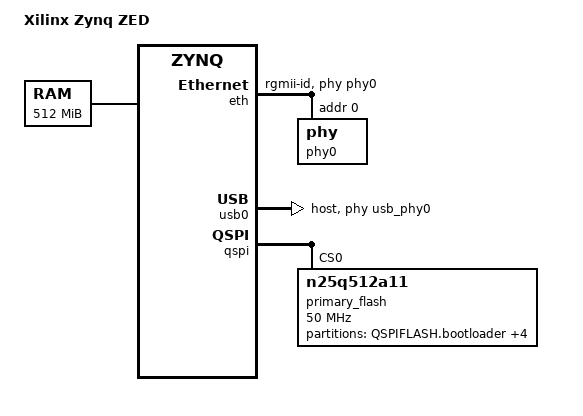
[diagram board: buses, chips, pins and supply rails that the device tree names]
/include/ "zynq.dtsi"

/ {
	model = "Xilinx Zynq ZED";
	//dtc_st = "2018-07-13 16:40:25";
	//git_hash= "we323afdf33";
/include/ "dt_ver.dtsi"
	memory {
		device_type = "memory";
		reg = <0x000000000 0x20000000>;
	};

	chosen {
//		bootargs = "console=ttyPS0,115200 root=/dev/ram rw initrd=0x1100000,33M ip=:::::eth0:dhcp earlyprintk";
		bootargs = "console=ttyPS0,115200 root=/dev/mmcblk0p2 rw earlyprintk rootfstype=ext4 rootwait";
		linux,stdout-path = "/amba@0/uart@E0001000";
	};

	usb_phy0: phy0 {
		compatible = "ulpi-phy";
		#phy-cells = <0>;
		reg = <0xe0002000 0x1000>;
		view-port = <0x0170>;
		drv-vbus;
	};

	amba_pl {
		#address-cells = <0x1>;
		#size-cells = <0x1>;
		compatible = "simple-bus";
		ranges;

		zptty@40001000 {
			compatible = "ikwzm,zptty-0.10.a";
			minor-number = <0>;
			reg = <0x40001000 0x80>;
			interrupt-parent = <&intc>;
			interrupts = <0x0 29 0x4>;
		};

		//vvtpackdev_0@40000C20 {
		//	compatible = "xlnx,opb-vvtpackdev-1.00.b";
		//	reg = <0x40000C20 0x10000>;
		//	interrupt-parent = <&intc>;
		//	interrupts = <0 29 4>;
		//	clock = <100000000>;
		//};

		dfe_rom@8c008000 {
			compatible = "xlnx,dfe-rom-1.0";
			reg = <0x8c008000 0x4000>;
		};

		dfe_scratch@8c000000 {
			compatible = "xlnx,dfe-scratch-1.0";
			reg = <0x8c000000 0x1000>;
		};

		dfe_clk_ctrl@8c001000 {
			compatible = "xlnx,dfe-clk-ctrl-1.0";
			reg = <0x8c001000 0x1000>;
		};

		dfe_ext_sync@8e002000 {
			compatible = "xlnx,dfe-ext-sync-1.0";
			reg = <0x8e002000 0x1000>;
			xlnx,antennas = <0x1>;
			xlnx,phases = <0x1>;
			xlnx,rate = <0x8>;
		};

		dfe_glitch_protect@8e005000 {
			compatible = "xlnx,dfe-glitch-protect-1.0";
			reg = <0x8e005000 0x1000>;
			xlnx,antennas = <0x1>;
			xlnx,output-reg = <0x2>;
			xlnx,phases = <0x1>;
		};

		jesd204@8e004000 {
			compatible = "xlnx,jesd204-7.1";
			reg = <0x8e004000 0x1000>;
			xlnx,axiclk-freq = "100.0";
			xlnx,component-name = "zynq_1_jesd204_rx_0_0";
			xlnx,default-f = <0x1>;
			xlnx,default-k = <0x20>;
			xlnx,default-scr = <0x0>;
			xlnx,default-sysref-always = <0x0>;
			xlnx,default-sysref-required = <0x0>;
			xlnx,drpclk-freq = "100.0";
			xlnx,global-clk-sel = "true";
			xlnx,gt-line-rate = "9.8304";
			xlnx,gt-refclk-freq = "245.760";
			xlnx,lanes = <0x1>;
			xlnx,lmfc-buffer-size = <0x6>;
			xlnx,node-is-transmit = <0x0>;
			xlnx,pll-selection = <0x3>;
			xlnx,speedgrade = "-2";
			xlnx,supportlevel = <0x0>;
			xlnx,sysref-sampling-edge = <0x0>;
			xlnx,transceiver = "GTXE2";
			xlnx,transceivercontrol = "false";
			xlnx,use-jspat = "false";
			xlnx,use-rpat = "false";
		};

		jesd204@8e003000 {
			compatible = "xlnx,jesd204-7.1";
			reg = <0x8e003000 0x1000>;
			xlnx,axiclk-freq = "100.0";
			xlnx,component-name = "zynq_1_jesd204_tx_0_0";
			xlnx,default-f = <0x1>;
			xlnx,default-k = <0x20>;
			xlnx,default-scr = <0x0>;
			xlnx,default-sysref-always = <0x0>;
			xlnx,default-sysref-required = <0x0>;
			xlnx,drpclk-freq = "100.0";
			xlnx,global-clk-sel = "true";
			xlnx,gt-line-rate = "9.8304";
			xlnx,gt-refclk-freq = "245.760";
			xlnx,lanes = <0x1>;
			xlnx,lmfc-buffer-size = <0x6>;
			xlnx,node-is-transmit = <0x1>;
			xlnx,pll-selection = <0x3>;
			xlnx,speedgrade = "-2";
			xlnx,supportlevel = <0x0>;
			xlnx,sysref-sampling-edge = <0x0>;
			xlnx,transceiver = "GTXE2";
			xlnx,transceivercontrol = "false";
			xlnx,use-jspat = "true";
			xlnx,use-rpat = "true";
		};

		dfe_capture_mux@87008000 {
			compatible = "xlnx,dfe-capture-mux-1.0";
			reg = <0x87008000 0x1000>;
			xlnx,adc-phases = <0x1>;
			xlnx,adc-rate = <0x8>;
			xlnx,antennas = <0x1>;
			xlnx,cfr-phases = <0x1>;
			xlnx,cfr-rate = <0x8>;
			xlnx,dac-phases = <0x1>;
			xlnx,dac-rate = <0x8>;
			xlnx,dpd-phases = <0x1>;
			xlnx,dpd-rate = <0x8>;
			xlnx,output-reg = <0x2>;
			xlnx,vec-rx-phases = <0x1>;
			xlnx,vec-rx-rate = <0x8>;
			xlnx,vec-tx-phases = <0x1>;
			xlnx,vec-tx-rate = <0x8>;
		};

		pc_cfr@85000000 {
			compatible = "xlnx,pc-cfr-6.1";
			reg = <0x85000000 0x100000>;
			xlnx,axis-dyn-ctrl-tdata-width = <0x8>;
			xlnx,axis-dyn-ctrl-tuser-width = <0x1>;
			xlnx,axis-tdata-width = <0x20>;
			xlnx,axis-tuser-width = <0x8>;
			xlnx,cfr-1x-data-mode = <0x0>;
			xlnx,clks-per-samp = <0x1>;
			xlnx,component-name = "zynq_1_CFR_1_0";
			xlnx,data-width = <0x10>;
			xlnx,elaboration-dir = "./";
			xlnx,max-cp-len = <0x7ff>;
			xlnx,max-peak-delay = <0xc8>;
			xlnx,mif-size = <0x1>;
			xlnx,num-antennas = <0x1>;
			xlnx,num-cpgs-iter0 = <0x8>;
			xlnx,num-cpgs-iter1 = <0x6>;
			xlnx,num-cpgs-iter2 = <0x4>;
			xlnx,num-cpgs-iter3 = <0x4>;
			xlnx,num-cpgs-iter4 = <0x4>;
			xlnx,num-cpgs-iter5 = <0x4>;
			xlnx,num-cpgs-iter6 = <0x4>;
			xlnx,num-cpgs-iter7 = <0x4>;
			xlnx,num-filters = <0x2>;
			xlnx,num-iterations = <0x4>;
			xlnx,real-complex-cp = <0x1>;
			xlnx,wcfr-mode = <0x0>;
			xlnx,write-filters = <0x1>;
			xlnx,xdevicefamily = "zynq";
		};

		dfe_gain_ctrl@86001000 {
			compatible = "xlnx,dfe-gain-ctrl-1.0";
			reg = <0x86001000 0x1000>;
			xlnx,antennas = <0x1>;
			xlnx,phases = <0x1>;
		};

		//dpd@80000000 {
		//	compatible = "generic-uio";
		//	interrupt-parent = <0x4>;
		//	interrupts = <0x0 33 0x1>;
		//	reg = <0x80000000 0x4000000 0x84000000 0x20000>;
		//};

		dfe_gain_ctrl@86002000 {
			compatible = "xlnx,dfe-gain-ctrl-1.0";
			reg = <0x86002000 0x1000>;
			xlnx,antennas = <0x1>;
			xlnx,phases = <0x1>;
		};

		dfe_vec_mux@86003000 {
			compatible = "xlnx,dfe-vec-mux-1.0";
			reg = <0x86003000 0x1000>;
			xlnx,antennas = <0x1>;
			xlnx,output-reg = <0x2>;
			xlnx,phases = <0x1>;
		};

		dfe_dlb@87006000 {
			compatible = "xlnx,dfe-dlb-1.0";
			reg = <0x87006000 0x2000>;
			xlnx,antennas = <0x1>;
			xlnx,has-fb-model = <0x1>;
			xlnx,has-pa-model = <0x1>;
			xlnx,phases = <0x1>;
			xlnx,xdevicefamily = "zynq";
		};

		dfe_equ@87005000 {
			compatible = "xlnx,dfe-equ-1.0";
			reg = <0x87005000 0x1000>;
			xlnx,antennas = <0x1>;
			xlnx,equ-taps = <0x10>;
			xlnx,has-equ = <0x1>;
			xlnx,output-reg = <0x2>;
			xlnx,phases = <0x1>;
			xlnx,xdevicefamily = "zynq";
		};

		dfe_equ@87004000 {
			compatible = "xlnx,dfe-equ-1.0";
			reg = <0x87004000 0x1000>;
			xlnx,antennas = <0x1>;
			xlnx,equ-taps = <0x10>;
			xlnx,has-equ = <0x1>;
			xlnx,output-reg = <0x2>;
			xlnx,phases = <0x1>;
			xlnx,xdevicefamily = "zynq";
		};

		dfe_cif@87003000 {
			compatible = "xlnx,dfe-cif-1.0";
			reg = <0x87003000 0x1000>;
			xlnx,antennas = <0x1>;
			xlnx,has-cif = <0x1>;
			xlnx,phases = <0x1>;
			xlnx,tuser-width = <0x8>;
		};

		dfe_time_ctrl@8d050000 {
			compatible = "xlnx,dfe-time-ctrl-1.0";
			reg = <0x8d050000 0x10000>;
			xlnx,clock-rate = <0x8>;
			xlnx,hd-data-width = <0x20>;
			xlnx,hd2tm-antennas = <0x1>;
			xlnx,pad-mode = <0x2>;
			xlnx,slave-mode = <0x1>;
			xlnx,test-mode = <0x0>;
			xlnx,tm-antennas = <0x1>;
			xlnx,tm-data-width = <0x20>;
			xlnx,tuser-width = <0x8>;
		};

		dfe_vec_store@8d010000 {
			compatible = "xlnx,dfe-vec-store-1.0";
			reg = <0x8d010000 0x10000>;
			xlnx,data-width = <0x80>;
			xlnx,has-desc-if = <0x1>;
			xlnx,max-burst-length = <0x40>;
			xlnx,tfifo-level-width = <0x14>;
			xlnx,tfifo-size-bytes = <0x2000>;
		};

		memory-controller@40000000 {
			compatible = "xlnx,mig-7series-4.0";
			device_type = "reserved-memory";
			reg = <0x40000000 0x40000000>;
		};

		dfe_time_ctrl@8d040000 {
			compatible = "xlnx,dfe-time-ctrl-1.0";
			reg = <0x8d040000 0x10000>;
			xlnx,clock-rate = <0x8>;
			xlnx,hd-data-width = <0x20>;
			xlnx,hd2tm-antennas = <0x1>;
			xlnx,pad-mode = <0x1>;
			xlnx,slave-mode = <0x0>;
			xlnx,test-mode = <0x0>;
			xlnx,tm-antennas = <0x1>;
			xlnx,tm-data-width = <0x20>;
			xlnx,tuser-width = <0x8>;
		};

		dfe_vec_fetch@8d000000 {
			compatible = "xlnx,dfe-vec-fetch-1.0";
			reg = <0x8d000000 0x10000>;
			xlnx,data-width = <0x80>;
			xlnx,has-desc-if = <0x1>;
			xlnx,max-burst-length = <0x40>;
			xlnx,tfifo-level-width = <0x14>;
			xlnx,tfifo-size-bytes = <0x2000>;
			xlnx,user-width = <0x8>;
		};

		dfe_gain_ctrl@8d090000 {
			compatible = "xlnx,dfe-gain-ctrl-1.0";
			reg = <0x8d090000 0x1000>;
			xlnx,antennas = <0x1>;
			xlnx,phases = <0x1>;
		};
	};

};

&eth {
	phy-handle = <&phy0>;
	phy-mode = "rgmii-id";

	phy0: phy@0 {
		device_type = "ethernet-phy";
		reg = <0x0>;
		marvell,reg-init=<3 16 0xff00 0x1e 3 17 0xfff0 0x0a>;
	};
};


&usb0 {
	xlnx,phy-reset-gpio = <&gpio0 7 0>;
	status = "okay";
	//dr_mode = "peripheral";
	dr_mode = "host";
	usb-phy = <&usb_phy0>;


};


&qspi {
	status = "okay";
	is-dual = <0>;
	num-cs = <1>;
	primary_flash: ps7-qspi@0 {
		#address-cells = <1>;
		#size-cells = <1>;
		compatible = "n25q512a11";
		reg = <0x0>;
		spi-max-frequency = <50000000>;
//		partition@0x00000000 {
//			label = "boot";
//			reg = <0x00000000 0x00500000>;
//		};
//		partition@0x00500000 {
//			label = "bootenv";
//			reg = <0x00500000 0x00020000>;
//		};
//		partition@0x00520000 {
//			label = "config";
//			reg = <0x00520000 0x00020000>;
//		};
//		partition@0x00540000 {
//			label = "image";
//			reg = <0x00540000 0x00a80000>;
//		};
//		partition@0x00fc0000 {
//			label = "spare";
//			reg = <0x00fc0000 0x00000000>;
//		};

		partition@1 {
			label = "QSPIFLASH.bootloader";
			reg = <0x100000 0x020000>;	//0x020,000 =128KB
		};
		partition@2 {
			label = "QSPIFLASH.bitstream";
			reg = <0x120000 0x600000>;	//0x600,000 = 6MB
		};
		partition@3 {
			label = "QSPIFLASH.kernel";
			reg = <0x720000 0x600000>;	//0x600,000 = 6MB
		};
		partition@4 {
			label = "QSPIFLASH.devicetree";
			reg = <0xD20000 0x020000>;	//0x020,000 =128KB
		};
		partition@5 {
			label = "QSPIFLASH.rootfs";
			reg = <0xD40000 0x00000000>;	//0xC00,000=12MB, 0x2000,000=32MB
		};
		//partition@6 {
		//	label = "QSPIFLASH.data";
		//	reg = <0x2D40000 0x00000000>;
		//};

	};
};
